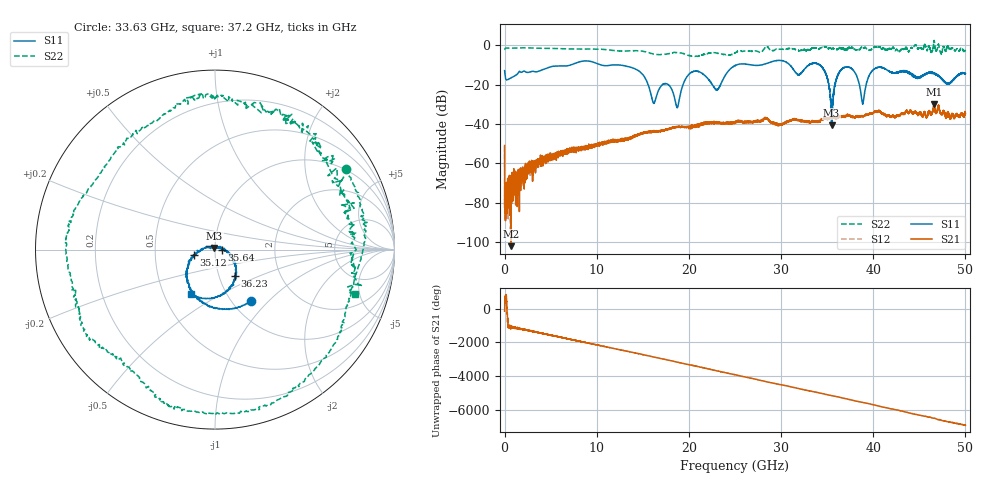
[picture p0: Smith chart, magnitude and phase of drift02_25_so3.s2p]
!Created with skrf (http://scikit-rf.org).
# Hz S RI R 50.0
!freq ReS11 ImS11 ReS21 ImS21 ReS12 ImS12 ReS22 ImS22
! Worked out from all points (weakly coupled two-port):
!   10001 points, 300 kHz to 50 GHz, reference 50 ohm
!   highest |S21| = -29.88 dB at 46.58 GHz (marker M1); lowest = -102.0 dB at 710.3 MHz (marker M2)
!   lowest |S11| = -40.7 dB at 35.48 GHz (marker M3), VSWR 1.02, Z = 49.7 + j0.868 ohm
!   |S11| at or under -10 dB: start of sweep to 7.179 GHz; 12.34 GHz to 25.18 GHz (12.85 GHz wide, 68.5 % of centre); 34.2 GHz to end of sweep (the widest 3 of 17)
!   |S22| runs from -5.7 to 2.4 dB; largest |S21 - S12| = 0.0053
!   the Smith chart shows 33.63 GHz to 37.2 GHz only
!   S11 on the Smith chart (normalised r, x): 33.63 GHz: 1.22, -0.80; 35.12 GHz: 0.79, -0.05; 35.64 GHz: 1.08, +0.00; 36.23 GHz: 1.19, -0.36; 37.2 GHz: 0.69, -0.37
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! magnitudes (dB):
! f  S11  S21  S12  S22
! 300 kHz  -12.9  -51.0  -51.2  -2.1
! 255.3 MHz  -17.6  -84.9  -79.1  -1.4
! 710.3 MHz  -16.5  -102.0  -73.0  -1.5
! 8.335 GHz  -8.2  -51.6  -52.1  -1.9
! 14 GHz  -11.7  -46.6  -46.5  -2.8
! 16.67 GHz  -23.2  -43.7  -43.5  -4.7
! 18.74 GHz  -31.6  -41.4  -41.6  -3.7
! 20.23 GHz  -13.9  -41.4  -41.7  -5.5
! 23.04 GHz  -22.6  -39.4  -39.7  -4.1
! 25 GHz  -10.3  -38.8  -39.3  -3.9
! 33.34 GHz  -9.3  -38.9  -38.8  -1.6
! 33.63 GHz  -9.1  -38.8  -38.5  -1.3
! 35.12 GHz  -18.4  -37.5  -37.4  -1.9
! 35.48 GHz  -40.7  -36.7  -36.6  -1.7
! 35.64 GHz  -28.7  -36.9  -36.7  -1.6
! 36.23 GHz  -14.7  -36.7  -36.6  -1.9
! 37.2 GHz  -11.0  -35.4  -35.7  -1.7
! 38.86 GHz  -29.7  -36.0  -36.0  -1.4
! 39.94 GHz  -12.8  -34.6  -34.5  -2.0
! 41.67 GHz  -13.0  -35.6  -35.7  -1.9
! 46.58 GHz  -14.4  -29.9  -30.8  1.6
! 50 GHz  -14.4  -34.8  -34.5  -2.7
